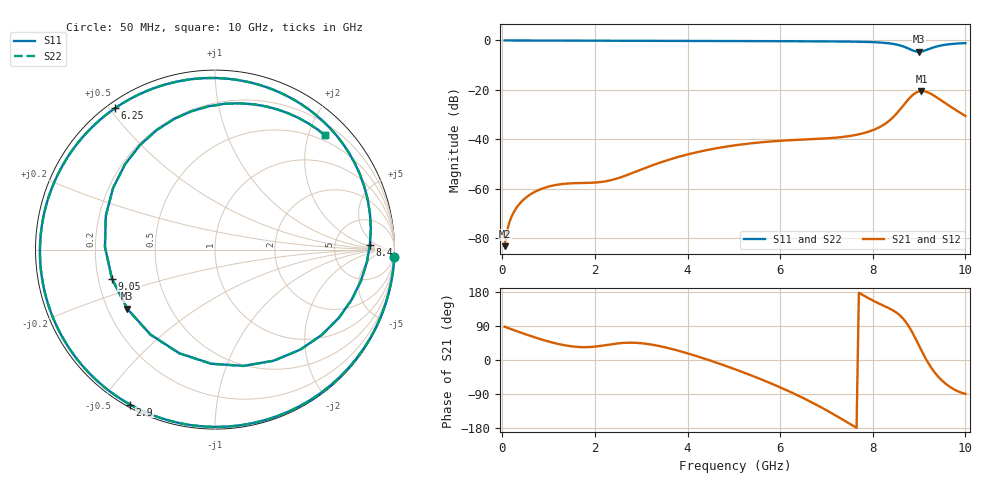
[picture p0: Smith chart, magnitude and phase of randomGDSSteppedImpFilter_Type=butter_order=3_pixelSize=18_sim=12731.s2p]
! freq	dB(S11)	phase(S11)	dB(S12)	phase(S12)
!  dB(S21)	phase(S21)	dB(S22)	phase(S22)
!S-par simulation data
#  GHz  S  DB  R 50
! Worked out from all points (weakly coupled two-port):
!   200 points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, 50 MHz to 10 GHz, reference 50 ohm
!   highest |S21| = -20.47 dB at 9.05 GHz (marker M1); lowest = -83.3 dB at 50 MHz (marker M2)
!   lowest |S11| = -4.6 dB at 9 GHz (marker M3), VSWR 3.87, Z = 14 - j14.2 ohm
!   |S11| at or under -10 dB: nowhere
!   |S22| runs from -4.6 to 0.0 dB; largest |S21 - S12| = 0
!   S11 on the Smith chart (normalised r, x): 50 MHz: 0, -50; 2.9 GHz: 0.01, -0.59; 6.25 GHz: 0.02, +0.52; 8.4 GHz: 13, +3; 9.05 GHz: 0.26, -0.13; 10 GHz: 0.39, +2.28
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0.05  -0.00 -2.3  -83.32 87.7  -83.32 87.7  -0.00 -2.3
0.25  -0.02 -11.3  -69.47 78.8  -69.47 78.8  -0.02 -11.3
0.55  -0.03 -24.6  -63.08 65.9  -63.08 65.9  -0.03 -24.6
1.75  -0.09 -75.3  -57.72 33.9  -57.72 33.9  -0.09 -75.3
2.9  -0.14 -118.7  -53.02 45.2  -53.02 45.2  -0.14 -118.7
3.4  -0.16 -136.2  -49.52 36.6  -49.52 36.6  -0.16 -136.2
4.25  -0.19 -164.9  -45.06 8.1  -45.06 8.1  -0.19 -165.0
5.05  -0.24 168.2  -42.40 -25.5  -42.40 -25.5  -0.24 168.1
6.25  -0.31 125.3  -40.36 -85.9  -40.36 -85.9  -0.31 125.2
6.7  -0.35 107.4  -39.96 -112.9  -39.96 -112.9  -0.35 107.3
7.65  -0.50 62.1  -38.21 -179.0  -38.21 -179.0  -0.50 62.0
8.05  -0.72 35.7  -35.97 153.9  -35.97 153.9  -0.72 35.5
8.35  -1.15 7.7  -32.60 136.5  -32.60 136.5  -1.15 7.4
8.4  -1.28 1.7  -31.79 133.4  -31.79 133.4  -1.28 1.5
8.6  -2.07 -28.7  -27.72 116.1  -27.72 116.1  -2.07 -28.9
8.75  -3.10 -62.2  -24.27 94.0  -24.27 94.0  -3.10 -62.3
8.85  -3.93 -91.9  -22.30 73.6  -22.30 73.6  -3.92 -91.9
9  -4.59 -146.0  -20.61 37.6  -20.61 37.6  -4.58 -145.9
9.05  -4.49 -164.3  -20.47 25.4  -20.47 25.4  -4.48 -164.2
9.25  -3.21 136.5  -21.56 -18.0  -21.56 -18.0  -3.22 136.7
9.45  -2.13 99.6  -23.91 -48.8  -23.91 -48.8  -2.14 99.7
10  -1.07 46.3  -30.57 -89.3  -30.57 -89.3  -1.07 46.3
